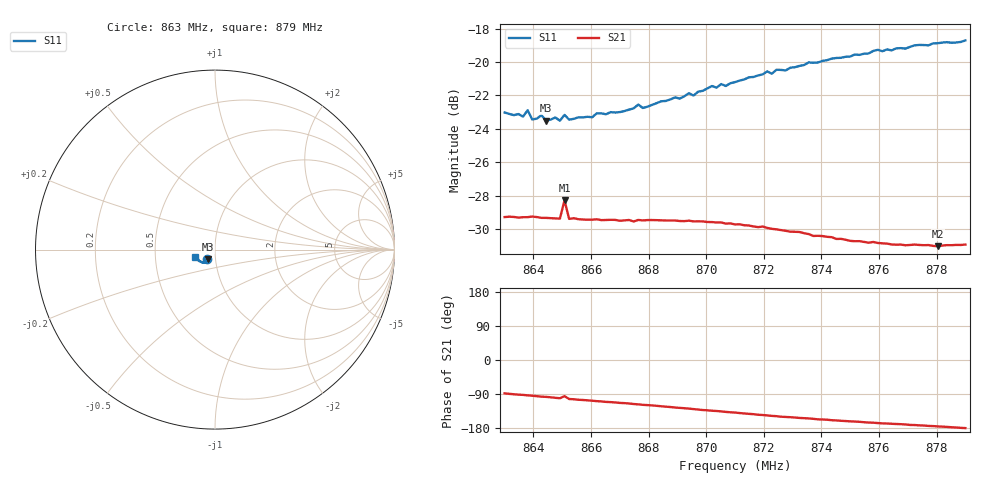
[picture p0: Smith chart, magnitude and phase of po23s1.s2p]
# HZ S RI R 50
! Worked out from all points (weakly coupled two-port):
!   101 points, 863 MHz to 879 MHz, reference 50 ohm
!   highest |S21| = -28.26 dB at 865.08 MHz (marker M1); lowest = -31.0 dB at 878.04 MHz (marker M2)
!   lowest |S11| = -23.5 dB at 864.44 MHz (marker M3), VSWR 1.14, Z = 46.1 - j5.09 ohm
!   |S11| at or under -10 dB: start of sweep to end of sweep
!   S12 and S22 are empty: the file has one direction only
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8.63e8  -0.0448 -0.0546  0.00122 -0.0344  0 0  0 0
8.6364e8  -0.0418 -0.0545  -0.00123 -0.0344  0 0  0 0
8.638e8  -0.0454 -0.0555  -0.002 -0.0343  0 0  0 0
8.6396e8  -0.0396 -0.0544  -0.00254 -0.0344  0 0  0 0
8.6428e8  -0.0395 -0.057  -0.00397 -0.034  0 0  0 0
8.6444e8  -0.0379 -0.0549  -0.00436 -0.0339  0 0  0 0
8.6476e8  -0.0393 -0.0558  -0.00579 -0.0336  0 0  0 0
8.6492e8  -0.038 -0.0549  -0.00645 -0.0334  0 0  0 0
8.6508e8  -0.0286 -0.0633  -0.00366 -0.0384  0 0  0 0
8.6524e8  -0.0369 -0.0562  -0.00761 -0.0331  0 0  0 0
8.6572e8  -0.0357 -0.0582  -0.00906 -0.0326  0 0  0 0
8.6716e8  -0.0357 -0.0618  -0.0136 -0.0308  0 0  0 0
8.6764e8  -0.0381 -0.0641  -0.0153 -0.0301  0 0  0 0
8.678e8  -0.0366 -0.063  -0.0159 -0.0296  0 0  0 0
8.6844e8  -0.0377 -0.0663  -0.0179 -0.0285  0 0  0 0
8.71e8  -0.0487 -0.0722  -0.0246 -0.0216  0 0  0 0
8.7212e8  -0.0578 -0.0738  -0.0265 -0.0178  0 0  0 0
8.7372e8  -0.068 -0.0726  -0.0274 -0.0127  0 0  0 0
8.7596e8  -0.0874 -0.0647  -0.028 -0.00675  0 0  0 0
8.7644e8  -0.0906 -0.0594  -0.0279 -0.00577  0 0  0 0
8.7804e8  -0.1028 -0.0487  -0.0281 -0.00231  0 0  0 0
8.79e8  -0.1094 -0.0386  -0.0285 -0.000149  0 0  0 0
